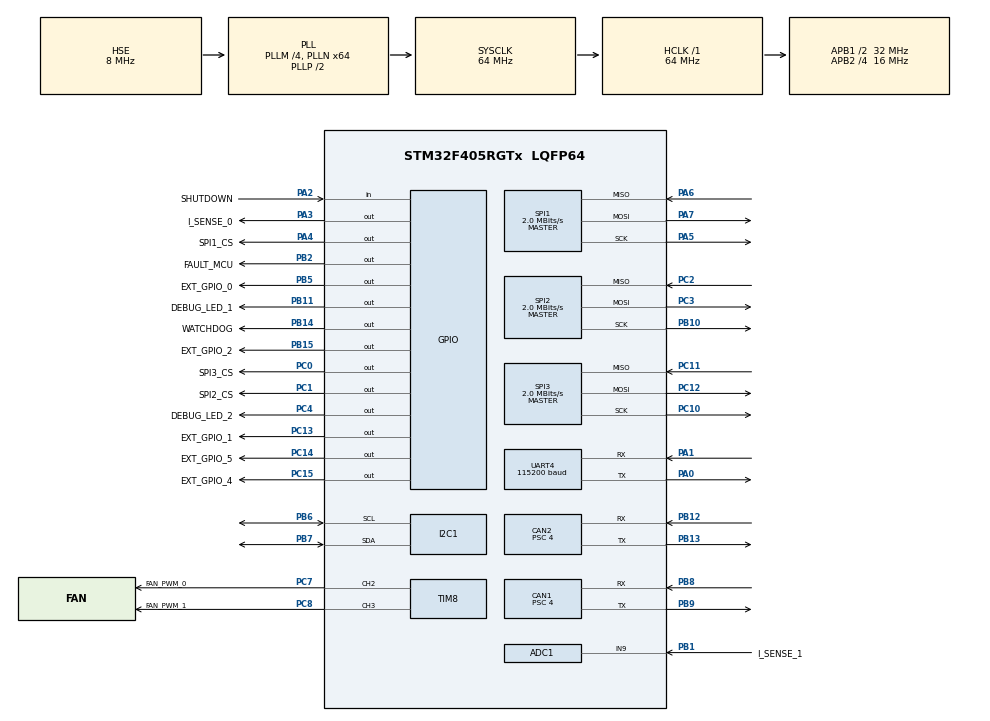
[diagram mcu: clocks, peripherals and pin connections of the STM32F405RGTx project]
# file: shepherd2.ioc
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ADC1.Channel-2\#ChannelRegularConversion=ADC_CHANNEL_9
ADC1.ClockPrescaler=ADC_CLOCK_SYNC_PCLK_DIV8
ADC1.ContinuousConvMode=ENABLE
ADC1.DMAContinuousRequests=ENABLE
ADC1.NbrOfConversionFlag=1
ADC1.Rank-2\#ChannelRegularConversion=1
ADC1.SamplingTime-2\#ChannelRegularConversion=ADC_SAMPLETIME_3CYCLES
ADC1.ScanConvMode=ENABLE
ADC1.master=1
CAN1.ABOM=ENABLE
CAN1.AWUM=DISABLE
CAN1.BS1=CAN_BS1_13TQ
CAN1.BS2=CAN_BS2_2TQ
CAN1.CalculateBaudRate=500000
CAN1.CalculateTimeBit=2000
CAN1.CalculateTimeQuantum=125.0
CAN1.Mode=CAN_MODE_NORMAL
CAN1.NART=ENABLE
CAN1.Prescaler=4
CAN1.RFLM=DISABLE
CAN1.SJW=CAN_SJW_1TQ
CAN1.TTCM=DISABLE
CAN1.TXFP=DISABLE
CAN2.ABOM=DISABLE
CAN2.AWUM=DISABLE
CAN2.BS1=CAN_BS1_13TQ
CAN2.BS2=CAN_BS2_2TQ
CAN2.CalculateBaudRate=500000
CAN2.CalculateTimeBit=2000
CAN2.CalculateTimeQuantum=125.0
CAN2.Mode=CAN_MODE_NORMAL
CAN2.NART=DISABLE
CAN2.Prescaler=4
CAN2.RFLM=DISABLE
CAN2.SJW=CAN_SJW_1TQ
CAN2.TTCM=DISABLE
CAN2.TXFP=DISABLE
Dma.ADC1.0.Direction=DMA_PERIPH_TO_MEMORY
Dma.ADC1.0.FIFOMode=DMA_FIFOMODE_DISABLE
Dma.ADC1.0.Instance=DMA2_Stream4
Dma.ADC1.0.MemDataAlignment=DMA_MDATAALIGN_WORD
Dma.ADC1.0.MemInc=DMA_MINC_ENABLE
Dma.ADC1.0.Mode=DMA_CIRCULAR
Dma.ADC1.0.PeriphDataAlignment=DMA_PDATAALIGN_WORD
Dma.ADC1.0.PeriphInc=DMA_PINC_DISABLE
Dma.ADC1.0.Priority=DMA_PRIORITY_MEDIUM
Dma.Request0=ADC1
IWDG.Prescaler=IWDG_PRESCALER_32
Mcu.Family=STM32F4
Mcu.Name=STM32F405RGTx
Mcu.Package=LQFP64
NVIC.CAN1_RX0_IRQn=true\:5\:0\:true\:false\:true\:true\:true\:true
NVIC.CAN2_RX0_IRQn=true\:0\:0\:false\:false\:true\:true\:true\:true
NVIC.DMA2_Stream4_IRQn=true\:0\:0\:false\:false\:true\:false\:true\:true
NVIC.PriorityGroup=NVIC_PRIORITYGROUP_4
NVIC.TIM3_IRQn=true\:15\:0\:false\:false\:true\:false\:true\:true
NVIC.TimeBase=TIM3_IRQn
NVIC.TimeBaseIP=TIM3
PA0-WKUP.Mode=Asynchronous
PA0-WKUP.Signal=UART4_TX
PA1.Mode=Asynchronous
PA1.Signal=UART4_RX
PA13.Mode=JTAG_4_pins
PA13.Signal=SYS_JTMS-SWDIO
PA14.Mode=JTAG_4_pins
PA14.Signal=SYS_JTCK-SWCLK
PA15.Mode=JTAG_4_pins
PA15.Signal=SYS_JTDI
PA2.GPIO_Label=SHUTDOWN
PA2.Signal=GPIO_Input
PA3.GPIO_Label=I_SENSE_0
PA3.Signal=GPIO_Output
PA4.GPIO_Label=SPI1_CS
PA4.Signal=GPIO_Output
PA5.Mode=Full_Duplex_Master
PA5.Signal=SPI1_SCK
PA6.Mode=Full_Duplex_Master
PA6.Signal=SPI1_MISO
PA7.Mode=Full_Duplex_Master
PA7.Signal=SPI1_MOSI
PB1.GPIO_Label=I_SENSE_1
PB1.Signal=ADCx_IN9
PB10.Mode=Full_Duplex_Master
PB10.Signal=SPI2_SCK
PB11.GPIO_Label=DEBUG_LED_1
PB11.Signal=GPIO_Output
PB12.Mode=CAN_Activate
PB12.Signal=CAN2_RX
PB13.Mode=CAN_Activate
PB13.Signal=CAN2_TX
PB14.GPIO_Label=WATCHDOG
PB14.Signal=GPIO_Output
PB15.GPIO_Label=EXT_GPIO_2
PB15.Signal=GPIO_Output
PB2.GPIO_Label=FAULT_MCU
PB2.Signal=GPIO_Output
PB3.Mode=JTAG_4_pins
PB3.Signal=SYS_JTDO-SWO
PB5.GPIO_Label=EXT_GPIO_0
PB5.Signal=GPIO_Output
PB6.Mode=I2C
PB6.Signal=I2C1_SCL
PB7.Mode=I2C
PB7.Signal=I2C1_SDA
PB8.Mode=CAN_Activate
PB8.Signal=CAN1_RX
PB9.Mode=CAN_Activate
PB9.Signal=CAN1_TX
PC0.GPIO_Label=SPI3_CS
PC0.Signal=GPIO_Output
PC1.GPIO_Label=SPI2_CS
PC1.Signal=GPIO_Output
PC10.Mode=Full_Duplex_Master
PC10.Signal=SPI3_SCK
PC11.Mode=Full_Duplex_Master
PC11.Signal=SPI3_MISO
PC12.Mode=Full_Duplex_Master
PC12.Signal=SPI3_MOSI
PC13-ANTI_TAMP.GPIO_Label=EXT_GPIO_1
PC13-ANTI_TAMP.Signal=GPIO_Output
PC14-OSC32_IN.GPIO_Label=EXT_GPIO_5
PC14-OSC32_IN.Signal=GPIO_Output
PC15-OSC32_OUT.GPIO_Label=EXT_GPIO_4
PC15-OSC32_OUT.Signal=GPIO_Output
PC2.Mode=Full_Duplex_Master
PC2.Signal=SPI2_MISO
PC3.Mode=Full_Duplex_Master
PC3.Signal=SPI2_MOSI
PC4.GPIO_Label=DEBUG_LED_2
PC4.Signal=GPIO_Output
PC7.GPIO_Label=FAN_PWM_0
PC7.Signal=S_TIM8_CH2
PC8.GPIO_Label=FAN_PWM_1
PC8.Signal=S_TIM8_CH3
PH0-OSC_IN.Mode=HSE-External-Clock-Source
PH0-OSC_IN.Signal=RCC_OSC_IN
PH1-OSC_OUT.Mode=HSE-External-Clock-Source
PH1-OSC_OUT.Signal=RCC_OSC_OUT
ProjectManager.HeapSize=0x200
ProjectManager.StackSize=0x400
ProjectManager.TargetToolchain=Makefile
RCC.48MHZClocksFreq_Value=25600000
RCC.AHBFreq_Value=64000000
RCC.APB1CLKDivider=RCC_HCLK_DIV2
RCC.APB1Freq_Value=32000000
RCC.APB1TimFreq_Value=64000000
RCC.APB2CLKDivider=RCC_HCLK_DIV4
RCC.APB2Freq_Value=16000000
RCC.APB2TimFreq_Value=32000000
RCC.CortexFreq_Value=64000000
RCC.HCLKFreq_Value=64000000
RCC.HSE_VALUE=8000000
RCC.HSI_VALUE=16000000
RCC.LSE_VALUE=32768
RCC.PLLM=4
RCC.PLLN=64
RCC.PLLQ=5
RCC.PLLSourceVirtual=RCC_PLLSOURCE_HSE
RCC.SYSCLKFreq_VALUE=64000000
RCC.SYSCLKSource=RCC_SYSCLKSOURCE_PLLCLK
RCC.VCOOutputFreq_Value=128000000
SH.ADCx_IN9.0=ADC1_IN9,IN9
SH.S_TIM8_CH2.0=TIM8_CH2,PWM Generation2 CH2
SH.S_TIM8_CH3.0=TIM8_CH3,PWM Generation3 CH3
SPI1.BaudRatePrescaler=SPI_BAUDRATEPRESCALER_8
SPI1.CLKPhase=SPI_PHASE_1EDGE
SPI1.CLKPolarity=SPI_POLARITY_LOW
SPI1.CRCCalculation=SPI_CRCCALCULATION_DISABLE
SPI1.CalculateBaudRate=2.0 MBits/s
SPI1.DataSize=SPI_DATASIZE_8BIT
SPI1.Direction=SPI_DIRECTION_2LINES
SPI1.FirstBit=SPI_FIRSTBIT_MSB
SPI1.Mode=SPI_MODE_MASTER
SPI1.NSS=SPI_NSS_SOFT
SPI1.TIMode=SPI_TIMODE_DISABLE
SPI1.VirtualType=VM_MASTER
SPI2.BaudRatePrescaler=SPI_BAUDRATEPRESCALER_16
SPI2.CLKPhase=SPI_PHASE_1EDGE
SPI2.CLKPolarity=SPI_POLARITY_LOW
SPI2.CRCCalculation=SPI_CRCCALCULATION_DISABLE
SPI2.CalculateBaudRate=2.0 MBits/s
SPI2.DataSize=SPI_DATASIZE_8BIT
SPI2.Direction=SPI_DIRECTION_2LINES
SPI2.FirstBit=SPI_FIRSTBIT_MSB
SPI2.Mode=SPI_MODE_MASTER
SPI2.NSS=SPI_NSS_SOFT
SPI2.TIMode=SPI_TIMODE_DISABLE
SPI2.VirtualType=VM_MASTER
SPI3.BaudRatePrescaler=SPI_BAUDRATEPRESCALER_16
SPI3.CLKPhase=SPI_PHASE_1EDGE
SPI3.CLKPolarity=SPI_POLARITY_LOW
SPI3.CRCCalculation=SPI_CRCCALCULATION_DISABLE
SPI3.CalculateBaudRate=2.0 MBits/s
SPI3.DataSize=SPI_DATASIZE_8BIT
SPI3.Direction=SPI_DIRECTION_2LINES
SPI3.FirstBit=SPI_FIRSTBIT_MSB
SPI3.Mode=SPI_MODE_MASTER
SPI3.NSS=SPI_NSS_SOFT
SPI3.TIMode=SPI_TIMODE_DISABLE
SPI3.VirtualType=VM_MASTER
TIM2.AutoReloadPreload=TIM_AUTORELOAD_PRELOAD_DISABLE
TIM2.Prescaler=63
TIM8.Channel-PWM\ Generation2\ CH2=TIM_CHANNEL_2
TIM8.Channel-PWM\ Generation3\ CH3=TIM_CHANNEL_3
UART4.BaudRate=115200
UART4.Mode=MODE_TX_RX
UART4.OverSampling=UART_OVERSAMPLING_16
UART4.Parity=PARITY_NONE
UART4.StopBits=UART_STOPBITS_1
UART4.VirtualMode=Asynchronous
UART4.WordLength=WORDLENGTH_8B
VP_IWDG_VS_IWDG.Mode=IWDG_Activate
VP_SYS_VS_tim3.Mode=TIM3
VP_TIM1_VS_ClockSourceINT.Mode=Internal
VP_TIM2_VS_ClockSourceINT.Mode=Internal
VP_TIM5_VS_ClockSourceINT.Mode=Internal
board=custom

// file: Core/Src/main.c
/* USER CODE BEGIN Header */
/**
  ******************************************************************************
  * @file           : main.c
  * @brief          : Main program body
  ******************************************************************************
  *
  ******************************************************************************
  */
/* USER CODE END Header */
#include "main.h"

/* USER CODE BEGIN Includes */

#include <assert.h>
#include "application.h"

/* USER CODE END Includes */

/* USER CODE BEGIN PD */

//#ifdef DEBUG_EVERYTHING
//#define DEBUG_CHARGING
// #define DEBUG_STATS
//#define DEBUG_VOLTAGES
//#define DEBUG_RAW_VOLTAGES
// #define DEBUG_RAW_VOLTAGES_FORMATTED
// #define DEBUG_OCV
// #define DEUBG_THERMS
// #define DEBUG_OTHER
// etc etc
//#endif
/* USER CODE END PD */

ADC_HandleTypeDef hadc1;
DMA_HandleTypeDef hdma_adc1;

CAN_HandleTypeDef hcan1;
CAN_HandleTypeDef hcan2;

I2C_HandleTypeDef hi2c1;

IWDG_HandleTypeDef hiwdg;

SPI_HandleTypeDef hspi1;
SPI_HandleTypeDef hspi2;
SPI_HandleTypeDef hspi3;

TIM_HandleTypeDef htim1;
TIM_HandleTypeDef htim2;
TIM_HandleTypeDef htim5;
TIM_HandleTypeDef htim8;

UART_HandleTypeDef huart4;

void SystemClock_Config(void);
static void MX_GPIO_Init(void);
static void MX_DMA_Init(void);
static void MX_CAN1_Init(void);
static void MX_CAN2_Init(void);
static void MX_SPI1_Init(void);
static void MX_SPI2_Init(void);
static void MX_SPI3_Init(void);
static void MX_UART4_Init(void);
static void MX_I2C1_Init(void);
static void MX_TIM2_Init(void);
static void MX_TIM8_Init(void);
static void MX_ADC1_Init(void);
static void MX_TIM5_Init(void);
static void MX_TIM1_Init(void);
/* USER CODE BEGIN PFP */

/* this is for the hardware watchdog ic. Currently not activated  in hw */
//void watchdog_init(void);
//void watchdog_pet(void);

/* USER CODE END PFP */

/* USER CODE BEGIN 0 */

/* the following reroutes printf to uart */
#ifdef __GNUC__
#define PUTCHAR_PROTOTYPE int __io_putchar(int ch)
#else
#define PUTCHAR_PROTOTYPE int fputc(int ch, FILE *f)
#endif

PUTCHAR_PROTOTYPE
{
  HAL_UART_Transmit(&huart4, (uint8_t *)&ch, 1, HAL_MAX_DELAY);
  return ch;
}

int _write(int file, char* ptr, int len) {
  int DataIdx;

  for (DataIdx = 0; DataIdx < len; DataIdx++) {
    __io_putchar( *ptr++ );
  }
  return len;
}

/* USER CODE END 0 */

int main(void)
{

  /* MCU Configuration--------------------------------------------------------*/

  /* Reset of all peripherals, Initializes the Flash interface and the Systick. */
  HAL_Init();

  /* USER CODE BEGIN Init */
  //TODO add ISR/timer based debug LED toggle

  /* USER CODE END Init */

  /* Configure the system clock */
  SystemClock_Config();

  /* USER CODE BEGIN SysInit */
  HAL_Delay(500);
  /* USER CODE END SysInit */

  /* Initialize all configured peripherals */
  MX_GPIO_Init();
  MX_DMA_Init();
  MX_CAN1_Init();
  MX_CAN2_Init();
  MX_SPI1_Init();
  MX_SPI2_Init();
  MX_SPI3_Init();
  MX_UART4_Init();
  MX_I2C1_Init();
  MX_TIM2_Init();
  MX_TIM8_Init();
  MX_ADC1_Init();
  MX_TIM5_Init();
  MX_TIM1_Init();
  /* USER CODE BEGIN 2 */

  HAL_Delay(500);
  // while (1) {

  // }
	printf("STARTING MAIN");
  app_main();
  /* USER CODE END 2 */

  /* Infinite loop */
  for(;;) {
  }

}

void SystemClock_Config(void)
{
  RCC_OscInitTypeDef RCC_OscInitStruct = {0};
  RCC_ClkInitTypeDef RCC_ClkInitStruct = {0};

  /** Configure the main internal regulator output voltage
  */
  __HAL_RCC_PWR_CLK_ENABLE();
  __HAL_PWR_VOLTAGESCALING_CONFIG(PWR_REGULATOR_VOLTAGE_SCALE1);

  /** Initializes the RCC Oscillators according to the specified parameters
  * in the RCC_OscInitTypeDef structure.
  */
  RCC_OscInitStruct.OscillatorType = RCC_OSCILLATORTYPE_LSI|RCC_OSCILLATORTYPE_HSE;
  RCC_OscInitStruct.HSEState = RCC_HSE_BYPASS;
  RCC_OscInitStruct.LSIState = RCC_LSI_ON;
  RCC_OscInitStruct.PLL.PLLState = RCC_PLL_ON;
  RCC_OscInitStruct.PLL.PLLSource = RCC_PLLSOURCE_HSE;
  RCC_OscInitStruct.PLL.PLLM = 4;
  RCC_OscInitStruct.PLL.PLLN = 64;
  RCC_OscInitStruct.PLL.PLLP = RCC_PLLP_DIV2;
  RCC_OscInitStruct.PLL.PLLQ = 5;
  if (HAL_RCC_OscConfig(&RCC_OscInitStruct) != HAL_OK)
  {
    Error_Handler();
  }

  /** Initializes the CPU, AHB and APB buses clocks
  */
  RCC_ClkInitStruct.ClockType = RCC_CLOCKTYPE_HCLK|RCC_CLOCKTYPE_SYSCLK
                              |RCC_CLOCKTYPE_PCLK1|RCC_CLOCKTYPE_PCLK2;
  RCC_ClkInitStruct.SYSCLKSource = RCC_SYSCLKSOURCE_PLLCLK;
  RCC_ClkInitStruct.AHBCLKDivider = RCC_SYSCLK_DIV1;
  RCC_ClkInitStruct.APB1CLKDivider = RCC_HCLK_DIV2;
  RCC_ClkInitStruct.APB2CLKDivider = RCC_HCLK_DIV4;

  if (HAL_RCC_ClockConfig(&RCC_ClkInitStruct, FLASH_LATENCY_2) != HAL_OK)
  {
    Error_Handler();
  }
}

static void MX_ADC1_Init(void)
{

  ADC_ChannelConfTypeDef sConfig = {0};

  /** Configure the global features of the ADC (Clock, Resolution, Data Alignment and number of conversion)
  */
  hadc1.Instance = ADC1;
  hadc1.Init.ClockPrescaler = ADC_CLOCK_SYNC_PCLK_DIV8;
  hadc1.Init.Resolution = ADC_RESOLUTION_12B;
  hadc1.Init.ScanConvMode = ENABLE;
  hadc1.Init.ContinuousConvMode = ENABLE;
  hadc1.Init.DiscontinuousConvMode = DISABLE;
  hadc1.Init.ExternalTrigConvEdge = ADC_EXTERNALTRIGCONVEDGE_NONE;
  hadc1.Init.ExternalTrigConv = ADC_SOFTWARE_START;
  hadc1.Init.DataAlign = ADC_DATAALIGN_RIGHT;
  hadc1.Init.NbrOfConversion = 1;
  hadc1.Init.DMAContinuousRequests = ENABLE;
  hadc1.Init.EOCSelection = ADC_EOC_SINGLE_CONV;
  if (HAL_ADC_Init(&hadc1) != HAL_OK)
  {
    Error_Handler();
  }

  /** Configure for the selected ADC regular channel its corresponding rank in the sequencer and its sample time.
  */
  sConfig.Channel = ADC_CHANNEL_9;
  sConfig.Rank = 1;
  sConfig.SamplingTime = ADC_SAMPLETIME_3CYCLES;
  if (HAL_ADC_ConfigChannel(&hadc1, &sConfig) != HAL_OK)
  {
    Error_Handler();
  }

}

static void MX_CAN1_Init(void)
{

  hcan1.Instance = CAN1;
  hcan1.Init.Prescaler = 4;
  hcan1.Init.Mode = CAN_MODE_NORMAL;
  hcan1.Init.SyncJumpWidth = CAN_SJW_1TQ;
  hcan1.Init.TimeSeg1 = CAN_BS1_13TQ;
  hcan1.Init.TimeSeg2 = CAN_BS2_2TQ;
  hcan1.Init.TimeTriggeredMode = DISABLE;
  hcan1.Init.AutoBusOff = ENABLE;
  hcan1.Init.AutoWakeUp = DISABLE;
  hcan1.Init.AutoRetransmission = ENABLE;
  hcan1.Init.ReceiveFifoLocked = DISABLE;
  hcan1.Init.TransmitFifoPriority = DISABLE;
  if (HAL_CAN_Init(&hcan1) != HAL_OK)
  {
    Error_Handler();
  }

}

static void MX_CAN2_Init(void)
{

  hcan2.Instance = CAN2;
  hcan2.Init.Prescaler = 4;
  hcan2.Init.Mode = CAN_MODE_NORMAL;
  hcan2.Init.SyncJumpWidth = CAN_SJW_1TQ;
  hcan2.Init.TimeSeg1 = CAN_BS1_13TQ;
  hcan2.Init.TimeSeg2 = CAN_BS2_2TQ;
  hcan2.Init.TimeTriggeredMode = DISABLE;
  hcan2.Init.AutoBusOff = DISABLE;
  hcan2.Init.AutoWakeUp = DISABLE;
  hcan2.Init.AutoRetransmission = DISABLE;
  hcan2.Init.ReceiveFifoLocked = DISABLE;
  hcan2.Init.TransmitFifoPriority = DISABLE;
  if (HAL_CAN_Init(&hcan2) != HAL_OK)
  {
    Error_Handler();
  }

}

static void MX_I2C1_Init(void)
{

  hi2c1.Instance = I2C1;
  hi2c1.Init.ClockSpeed = 100000;
  hi2c1.Init.DutyCycle = I2C_DUTYCYCLE_2;
  hi2c1.Init.OwnAddress1 = 0;
  hi2c1.Init.AddressingMode = I2C_ADDRESSINGMODE_7BIT;
  hi2c1.Init.DualAddressMode = I2C_DUALADDRESS_DISABLE;
  hi2c1.Init.OwnAddress2 = 0;
  hi2c1.Init.GeneralCallMode = I2C_GENERALCALL_DISABLE;
  hi2c1.Init.NoStretchMode = I2C_NOSTRETCH_DISABLE;
  if (HAL_I2C_Init(&hi2c1) != HAL_OK)
  {
    Error_Handler();
  }

}

static void MX_SPI1_Init(void)
{

  /* SPI1 parameter configuration*/
  hspi1.Instance = SPI1;
  hspi1.Init.Mode = SPI_MODE_MASTER;
  hspi1.Init.Direction = SPI_DIRECTION_2LINES;
  hspi1.Init.DataSize = SPI_DATASIZE_8BIT;
  hspi1.Init.CLKPolarity = SPI_POLARITY_LOW;
  hspi1.Init.CLKPhase = SPI_PHASE_1EDGE;
  hspi1.Init.NSS = SPI_NSS_SOFT;
  hspi1.Init.BaudRatePrescaler = SPI_BAUDRATEPRESCALER_8;
  hspi1.Init.FirstBit = SPI_FIRSTBIT_MSB;
  hspi1.Init.TIMode = SPI_TIMODE_DISABLE;
  hspi1.Init.CRCCalculation = SPI_CRCCALCULATION_DISABLE;
  hspi1.Init.CRCPolynomial = 10;
  if (HAL_SPI_Init(&hspi1) != HAL_OK)
  {
    Error_Handler();
  }

}

static void MX_SPI2_Init(void)
{

  /* SPI2 parameter configuration*/
  hspi2.Instance = SPI2;
  hspi2.Init.Mode = SPI_MODE_MASTER;
  hspi2.Init.Direction = SPI_DIRECTION_2LINES;
  hspi2.Init.DataSize = SPI_DATASIZE_8BIT;
  hspi2.Init.CLKPolarity = SPI_POLARITY_LOW;
  hspi2.Init.CLKPhase = SPI_PHASE_1EDGE;
  hspi2.Init.NSS = SPI_NSS_SOFT;
  hspi2.Init.BaudRatePrescaler = SPI_BAUDRATEPRESCALER_16;
  hspi2.Init.FirstBit = SPI_FIRSTBIT_MSB;
  hspi2.Init.TIMode = SPI_TIMODE_DISABLE;
  hspi2.Init.CRCCalculation = SPI_CRCCALCULATION_DISABLE;
  hspi2.Init.CRCPolynomial = 10;
  if (HAL_SPI_Init(&hspi2) != HAL_OK)
  {
    Error_Handler();
  }

}

static void MX_SPI3_Init(void)
{

  /* SPI3 parameter configuration*/
  hspi3.Instance = SPI3;
  hspi3.Init.Mode = SPI_MODE_MASTER;
  hspi3.Init.Direction = SPI_DIRECTION_2LINES;
  hspi3.Init.DataSize = SPI_DATASIZE_8BIT;
  hspi3.Init.CLKPolarity = SPI_POLARITY_LOW;
  hspi3.Init.CLKPhase = SPI_PHASE_1EDGE;
  hspi3.Init.NSS = SPI_NSS_SOFT;
  hspi3.Init.BaudRatePrescaler = SPI_BAUDRATEPRESCALER_16;
  hspi3.Init.FirstBit = SPI_FIRSTBIT_MSB;
  hspi3.Init.TIMode = SPI_TIMODE_DISABLE;
  hspi3.Init.CRCCalculation = SPI_CRCCALCULATION_DISABLE;
  hspi3.Init.CRCPolynomial = 10;
  if (HAL_SPI_Init(&hspi3) != HAL_OK)
  {
    Error_Handler();
  }

}

static void MX_TIM1_Init(void)
{

  TIM_ClockConfigTypeDef sClockSourceConfig = {0};
  TIM_MasterConfigTypeDef sMasterConfig = {0};

  htim1.Instance = TIM1;
  htim1.Init.Prescaler = 0;
  htim1.Init.CounterMode = TIM_COUNTERMODE_UP;
  htim1.Init.Period = 65535;
  htim1.Init.ClockDivision = TIM_CLOCKDIVISION_DIV1;
  htim1.Init.RepetitionCounter = 0;
  htim1.Init.AutoReloadPreload = TIM_AUTORELOAD_PRELOAD_DISABLE;
  if (HAL_TIM_Base_Init(&htim1) != HAL_OK)
  {
    Error_Handler();
  }
  sClockSourceConfig.ClockSource = TIM_CLOCKSOURCE_INTERNAL;
  if (HAL_TIM_ConfigClockSource(&htim1, &sClockSourceConfig) != HAL_OK)
  {
    Error_Handler();
  }
  sMasterConfig.MasterOutputTrigger = TIM_TRGO_RESET;
  sMasterConfig.MasterSlaveMode = TIM_MASTERSLAVEMODE_DISABLE;
  if (HAL_TIMEx_MasterConfigSynchronization(&htim1, &sMasterConfig) != HAL_OK)
  {
    Error_Handler();
  }

}

static void MX_TIM2_Init(void)
{

  TIM_ClockConfigTypeDef sClockSourceConfig = {0};
  TIM_MasterConfigTypeDef sMasterConfig = {0};

  htim2.Instance = TIM2;
  htim2.Init.Prescaler = 63;
  htim2.Init.CounterMode = TIM_COUNTERMODE_UP;
  htim2.Init.Period = 4294967295;
  htim2.Init.ClockDivision = TIM_CLOCKDIVISION_DIV1;
  htim2.Init.AutoReloadPreload = TIM_AUTORELOAD_PRELOAD_DISABLE;
  if (HAL_TIM_Base_Init(&htim2) != HAL_OK)
  {
    Error_Handler();
  }
  sClockSourceConfig.ClockSource = TIM_CLOCKSOURCE_INTERNAL;
  if (HAL_TIM_ConfigClockSource(&htim2, &sClockSourceConfig) != HAL_OK)
  {
    Error_Handler();
  }
  sMasterConfig.MasterOutputTrigger = TIM_TRGO_RESET;
  sMasterConfig.MasterSlaveMode = TIM_MASTERSLAVEMODE_DISABLE;
  if (HAL_TIMEx_MasterConfigSynchronization(&htim2, &sMasterConfig) != HAL_OK)
  {
    Error_Handler();
  }
  /* USER CODE BEGIN TIM2_Init 2 */
  HAL_TIM_Base_Start(&htim2);
  /* USER CODE END TIM2_Init 2 */

}

static void MX_TIM5_Init(void)
{

  TIM_ClockConfigTypeDef sClockSourceConfig = {0};
  TIM_MasterConfigTypeDef sMasterConfig = {0};

  htim5.Instance = TIM5;
  htim5.Init.Prescaler = 0;
  htim5.Init.CounterMode = TIM_COUNTERMODE_UP;
  htim5.Init.Period = 4294967295;
  htim5.Init.ClockDivision = TIM_CLOCKDIVISION_DIV1;
  htim5.Init.AutoReloadPreload = TIM_AUTORELOAD_PRELOAD_DISABLE;
  if (HAL_TIM_Base_Init(&htim5) != HAL_OK)
  {
    Error_Handler();
  }
  sClockSourceConfig.ClockSource = TIM_CLOCKSOURCE_INTERNAL;
  if (HAL_TIM_ConfigClockSource(&htim5, &sClockSourceConfig) != HAL_OK)
  {
    Error_Handler();
  }
  sMasterConfig.MasterOutputTrigger = TIM_TRGO_RESET;
  sMasterConfig.MasterSlaveMode = TIM_MASTERSLAVEMODE_DISABLE;
  if (HAL_TIMEx_MasterConfigSynchronization(&htim5, &sMasterConfig) != HAL_OK)
  {
    Error_Handler();
  }

}

static void MX_TIM8_Init(void)
{

  TIM_MasterConfigTypeDef sMasterConfig = {0};
  TIM_OC_InitTypeDef sConfigOC = {0};
  TIM_BreakDeadTimeConfigTypeDef sBreakDeadTimeConfig = {0};

  htim8.Instance = TIM8;
  htim8.Init.Prescaler = 0;
  htim8.Init.CounterMode = TIM_COUNTERMODE_UP;
  htim8.Init.Period = 65535;
  htim8.Init.ClockDivision = TIM_CLOCKDIVISION_DIV1;
  htim8.Init.RepetitionCounter = 0;
  htim8.Init.AutoReloadPreload = TIM_AUTORELOAD_PRELOAD_DISABLE;
  if (HAL_TIM_PWM_Init(&htim8) != HAL_OK)
  {
    Error_Handler();
  }
  sMasterConfig.MasterOutputTrigger = TIM_TRGO_RESET;
  sMasterConfig.MasterSlaveMode = TIM_MASTERSLAVEMODE_DISABLE;
  if (HAL_TIMEx_MasterConfigSynchronization(&htim8, &sMasterConfig) != HAL_OK)
  {
    Error_Handler();
  }
  sConfigOC.OCMode = TIM_OCMODE_PWM1;
  sConfigOC.Pulse = 0;
  sConfigOC.OCPolarity = TIM_OCPOLARITY_HIGH;
  sConfigOC.OCNPolarity = TIM_OCNPOLARITY_HIGH;
  sConfigOC.OCFastMode = TIM_OCFAST_DISABLE;
  sConfigOC.OCIdleState = TIM_OCIDLESTATE_RESET;
  sConfigOC.OCNIdleState = TIM_OCNIDLESTATE_RESET;
  if (HAL_TIM_PWM_ConfigChannel(&htim8, &sConfigOC, TIM_CHANNEL_2) != HAL_OK)
  {
    Error_Handler();
  }
  if (HAL_TIM_PWM_ConfigChannel(&htim8, &sConfigOC, TIM_CHANNEL_3) != HAL_OK)
  {
    Error_Handler();
  }
  sBreakDeadTimeConfig.OffStateRunMode = TIM_OSSR_DISABLE;
  sBreakDeadTimeConfig.OffStateIDLEMode = TIM_OSSI_DISABLE;
  sBreakDeadTimeConfig.LockLevel = TIM_LOCKLEVEL_OFF;
  sBreakDeadTimeConfig.DeadTime = 0;
  sBreakDeadTimeConfig.BreakState = TIM_BREAK_DISABLE;
  sBreakDeadTimeConfig.BreakPolarity = TIM_BREAKPOLARITY_HIGH;
  sBreakDeadTimeConfig.AutomaticOutput = TIM_AUTOMATICOUTPUT_DISABLE;
  if (HAL_TIMEx_ConfigBreakDeadTime(&htim8, &sBreakDeadTimeConfig) != HAL_OK)
  {
    Error_Handler();
  }
  HAL_TIM_MspPostInit(&htim8);

}

static void MX_UART4_Init(void)
{

  huart4.Instance = UART4;
  huart4.Init.BaudRate = 115200;
  huart4.Init.WordLength = UART_WORDLENGTH_8B;
  huart4.Init.StopBits = UART_STOPBITS_1;
  huart4.Init.Parity = UART_PARITY_NONE;
  huart4.Init.Mode = UART_MODE_TX_RX;
  huart4.Init.HwFlowCtl = UART_HWCONTROL_NONE;
  huart4.Init.OverSampling = UART_OVERSAMPLING_16;
  if (HAL_UART_Init(&huart4) != HAL_OK)
  {
    Error_Handler();
  }

}

static void MX_DMA_Init(void)
{

  /* DMA controller clock enable */
  __HAL_RCC_DMA2_CLK_ENABLE();

  /* DMA interrupt init */
  /* DMA2_Stream4_IRQn interrupt configuration */
  HAL_NVIC_SetPriority(DMA2_Stream4_IRQn, 0, 0);
  HAL_NVIC_EnableIRQ(DMA2_Stream4_IRQn);

}

static void MX_GPIO_Init(void)
{
  GPIO_InitTypeDef GPIO_InitStruct = {0};

  /* GPIO Ports Clock Enable */
  __HAL_RCC_GPIOC_CLK_ENABLE();
  __HAL_RCC_GPIOH_CLK_ENABLE();
  __HAL_RCC_GPIOA_CLK_ENABLE();
  __HAL_RCC_GPIOB_CLK_ENABLE();

  /*Configure GPIO pin Output Level */
  HAL_GPIO_WritePin(GPIOC, EXT_GPIO_1_Pin|EXT_GPIO_5_Pin|EXT_GPIO_4_Pin|SPI3_CS_Pin
                          |SPI2_CS_Pin|DEBUG_LED_2_Pin, GPIO_PIN_RESET);

  /*Configure GPIO pin Output Level */
  HAL_GPIO_WritePin(GPIOA, I_SENSE_0_Pin|SPI1_CS_Pin, GPIO_PIN_RESET);

  /*Configure GPIO pin Output Level */
  HAL_GPIO_WritePin(GPIOB, FAULT_MCU_Pin|DEBUG_LED_1_Pin|WATCHDOG_Pin|EXT_GPIO_2_Pin
                          |EXT_GPIO_0_Pin, GPIO_PIN_RESET);

  /*Configure GPIO pins : EXT_GPIO_1_Pin EXT_GPIO_5_Pin EXT_GPIO_4_Pin SPI3_CS_Pin
                           SPI2_CS_Pin DEBUG_LED_2_Pin */
  GPIO_InitStruct.Pin = EXT_GPIO_1_Pin|EXT_GPIO_5_Pin|EXT_GPIO_4_Pin|SPI3_CS_Pin
                          |SPI2_CS_Pin|DEBUG_LED_2_Pin;
  GPIO_InitStruct.Mode = GPIO_MODE_OUTPUT_PP;
  GPIO_InitStruct.Pull = GPIO_NOPULL;
  GPIO_InitStruct.Speed = GPIO_SPEED_FREQ_LOW;
  HAL_GPIO_Init(GPIOC, &GPIO_InitStruct);

  /*Configure GPIO pin : SHUTDOWN_Pin */
  GPIO_InitStruct.Pin = SHUTDOWN_Pin;
  GPIO_InitStruct.Mode = GPIO_MODE_INPUT;
  GPIO_InitStruct.Pull = GPIO_NOPULL;
  HAL_GPIO_Init(SHUTDOWN_GPIO_Port, &GPIO_InitStruct);

  /*Configure GPIO pins : I_SENSE_0_Pin SPI1_CS_Pin */
  GPIO_InitStruct.Pin = I_SENSE_0_Pin|SPI1_CS_Pin;
  GPIO_InitStruct.Mode = GPIO_MODE_OUTPUT_PP;
  GPIO_InitStruct.Pull = GPIO_NOPULL;
  GPIO_InitStruct.Speed = GPIO_SPEED_FREQ_LOW;
  HAL_GPIO_Init(GPIOA, &GPIO_InitStruct);

  /*Configure GPIO pins : FAULT_MCU_Pin DEBUG_LED_1_Pin WATCHDOG_Pin EXT_GPIO_2_Pin
                           EXT_GPIO_0_Pin */
  GPIO_InitStruct.Pin = FAULT_MCU_Pin|DEBUG_LED_1_Pin|WATCHDOG_Pin|EXT_GPIO_2_Pin
                          |EXT_GPIO_0_Pin;
  GPIO_InitStruct.Mode = GPIO_MODE_OUTPUT_PP;
  GPIO_InitStruct.Pull = GPIO_NOPULL;
  GPIO_InitStruct.Speed = GPIO_SPEED_FREQ_LOW;
  HAL_GPIO_Init(GPIOB, &GPIO_InitStruct);

}

void HAL_TIM_PeriodElapsedCallback(TIM_HandleTypeDef *htim)
{
  if (htim->Instance == TIM3)
  {
    HAL_IncTick();
  }
}

void Error_Handler(void)
{
  __disable_irq();
  while (1)
  {
  }
}
